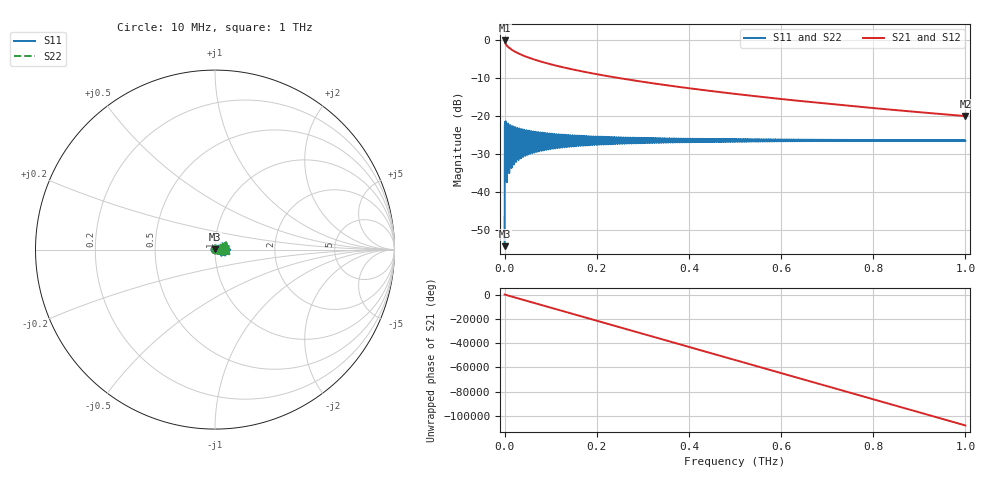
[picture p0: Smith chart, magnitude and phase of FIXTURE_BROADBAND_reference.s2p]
! Reference exacte (sans bruit) : ligne Zc=55 ohm, delai=300 ps, pertes 2.0 dB @10 GHz (~sqrt(f)), eps_r_eff=3.0 -> 51.93 mm, Z0=50 ohm ; 0.010 - 1000 GHz, pas 500 MHz, 2001 points, bruit -40 dB
! Frequency(Hz) S11 S21 S12 S22 (Re Im)
# Hz S RI R 50
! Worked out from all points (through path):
!   2001 points, 10 MHz to 1 THz, reference 50 ohm
!   highest |S21| = -0.06 dB at 10 MHz (marker M1); lowest = -20.0 dB at 1 THz (marker M2)
!   lowest |S11| = -54.4 dB at 10 MHz (marker M3), VSWR 1.00, Z = 50.1 + j0.178 ohm
!   |S11| at or under -10 dB: start of sweep to end of sweep
!   |S22| runs from -54.4 to -21.4 dB; largest |S21 - S12| = 0
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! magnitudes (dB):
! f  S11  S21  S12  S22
! 10 MHz  -54.4  -0.1  -0.1  -54.4
! 5.51 GHz  -23.5  -1.5  -1.5  -23.5
! 6.51 GHz  -31.2  -1.6  -1.6  -31.2
! 9.01 GHz  -22.5  -1.9  -1.9  -22.5
! 10.01 GHz  -35.1  -2.0  -2.0  -35.1
! 11.01 GHz  -22.7  -2.1  -2.1  -22.7
! 11.51 GHz  -30.9  -2.2  -2.2  -30.9
! 14.01 GHz  -22.8  -2.4  -2.4  -22.8
! 15.01 GHz  -33.7  -2.5  -2.5  -33.7
! 16.01 GHz  -23.0  -2.6  -2.6  -23.0
! 20.01 GHz  -32.8  -2.8  -2.8  -32.8
! 21.01 GHz  -23.3  -2.9  -2.9  -23.3
! 25.01 GHz  -32.1  -3.2  -3.2  -32.1
! 26.01 GHz  -23.5  -3.3  -3.3  -23.5
! 30.01 GHz  -31.6  -3.5  -3.5  -31.6
! 57.51 GHz  -24.0  -4.8  -4.8  -24.0
! 167 GHz  -26.7  -8.2  -8.2  -26.7
! 333.5 GHz  -26.9  -11.6  -11.6  -26.9
! 500 GHz  -26.8  -14.2  -14.2  -26.8
! 667 GHz  -26.5  -16.4  -16.4  -26.5
! 833.5 GHz  -26.5  -18.3  -18.3  -26.5
! 1 THz  -26.5  -20.0  -20.0  -26.5
